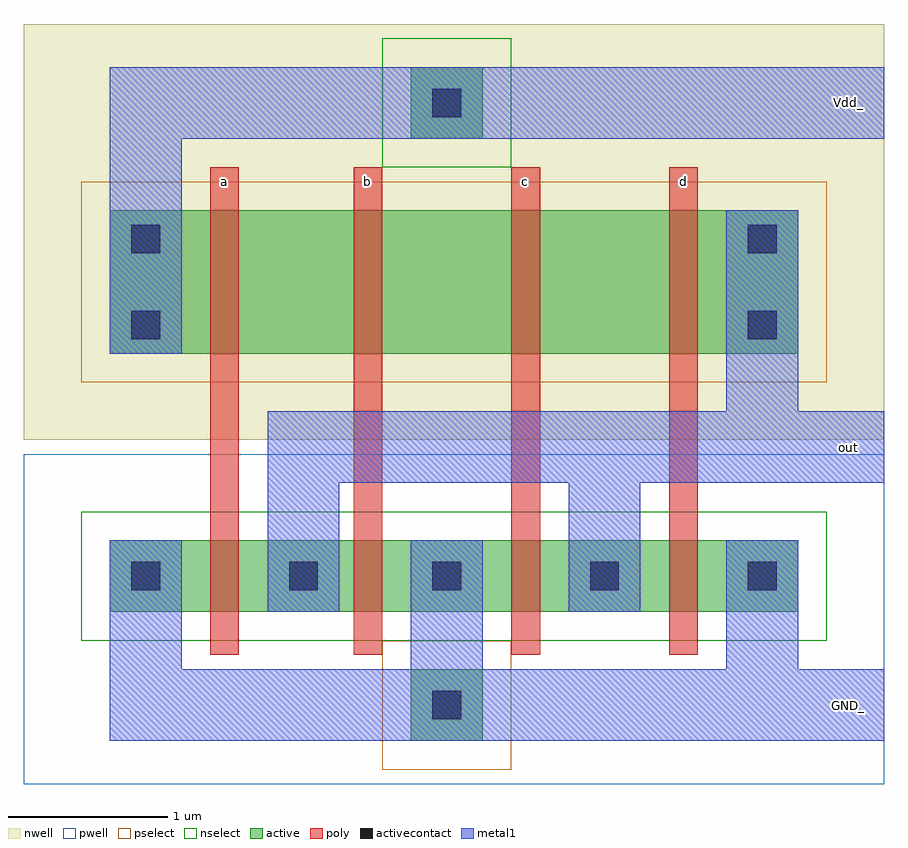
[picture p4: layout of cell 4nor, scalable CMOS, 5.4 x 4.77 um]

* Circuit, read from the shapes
.subckt 4nor GND_ Vdd_ a b c d out
M1 out a GND_ GND_ nfet w=0.45u l=0.18u
M2 GND_ b out GND_ nfet w=0.45u l=0.18u
M3 out c GND_ GND_ nfet w=0.45u l=0.18u
M4 GND_ d out GND_ nfet w=0.45u l=0.18u
M5 n1 a Vdd_ Vdd_ pfet w=0.9u l=0.18u
M6 n2 b n1 Vdd_ pfet w=0.9u l=0.18u
M7 n3 c n2 Vdd_ pfet w=0.9u l=0.18u
M8 out d n3 Vdd_ pfet w=0.9u l=0.18u
.ends

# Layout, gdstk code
import gdstk
lib = gdstk.Library(unit=1e-6, precision=1e-09)
def R(c, l, rs):  # rectangles x0, y0, x1, y1
    for r in rs: c.add(gdstk.rectangle(r[:2], r[2:], *l))
def A(c, l, x, y, w, h, nx, ny, dx, dy):  # array of equal rectangles
    R(c, l, [(x+i*dx, y+j*dy, x+i*dx+w, y+j*dy+h) for i in range(nx) for j in range(ny)])
pwell = (41, 0)
nwell = (42, 0)
active = (43, 0)
pselect = (44, 0)
nselect = (45, 0)
poly = (46, 0)
activecontact = (48, 0)
metal1 = (49, 0)

c_4nor = lib.new_cell('4nor')
R(c_4nor, pwell, [(6.48,-0.54,11.88,1.53)])
R(c_4nor, nwell, [(6.48,1.62,11.88,4.23)])
R(c_4nor, active, [(8.91,-0.27,9.36,0.18), (7.02,0.54,11.34,0.99), (7.02,2.16,11.34,3.06), (8.91,3.51,9.36,3.96)])
R(c_4nor, pselect, [(8.73,-0.45,9.54,0.36), (6.84,1.98,11.52,3.24)])
R(c_4nor, nselect, [(6.84,0.36,11.52,1.17), (8.73,3.33,9.54,4.14)])
A(c_4nor, poly, 8.55, 0.27, 0.18, 3.06, 3, 1, 0.99, 0)
R(c_4nor, poly, [(7.65,0.27,7.83,3.33)])
A(c_4nor, activecontact, 9.045, 0.675, 0.18, 0.18, 3, 1, 0.99, 0)
R(c_4nor, activecontact, [(9.045,-0.135,9.225,0.045), (7.155,0.675,7.335,0.855), (8.145,0.675,8.325,0.855), (7.155,2.25,7.335,2.43), (11.025,2.25,11.205,2.43), (7.155,2.79,7.335,2.97), (11.025,2.79,11.205,2.97), (9.045,3.645,9.225,3.825)])
R(c_4nor, metal1, [(7.02,-0.27,11.88,0.18), (7.02,0.18,7.47,0.99), (8.91,0.18,9.36,0.99), (10.89,0.18,11.34,0.99), (8.01,0.54,8.46,1.35), (9.9,0.54,10.35,1.35), (8.01,1.35,11.88,1.8), (10.89,1.8,11.34,3.06), (7.02,2.16,7.47,3.51), (7.02,3.51,11.88,3.96)])
c_4nor.add(gdstk.Label('a', (7.74,3.24), layer=46, texttype=0))
c_4nor.add(gdstk.Label('b', (8.64,3.24), layer=46, texttype=0))
c_4nor.add(gdstk.Label('c', (9.63,3.24), layer=46, texttype=0))
c_4nor.add(gdstk.Label('d', (10.62,3.24), layer=46, texttype=0))
c_4nor.add(gdstk.Label('Vdd_', (11.655,3.735), layer=49, texttype=0))
c_4nor.add(gdstk.Label('out', (11.655,1.575), layer=49, texttype=0))
c_4nor.add(gdstk.Label('GND_', (11.655,-0.045), layer=49, texttype=0))

lib.write_gds('4nor.gds')
